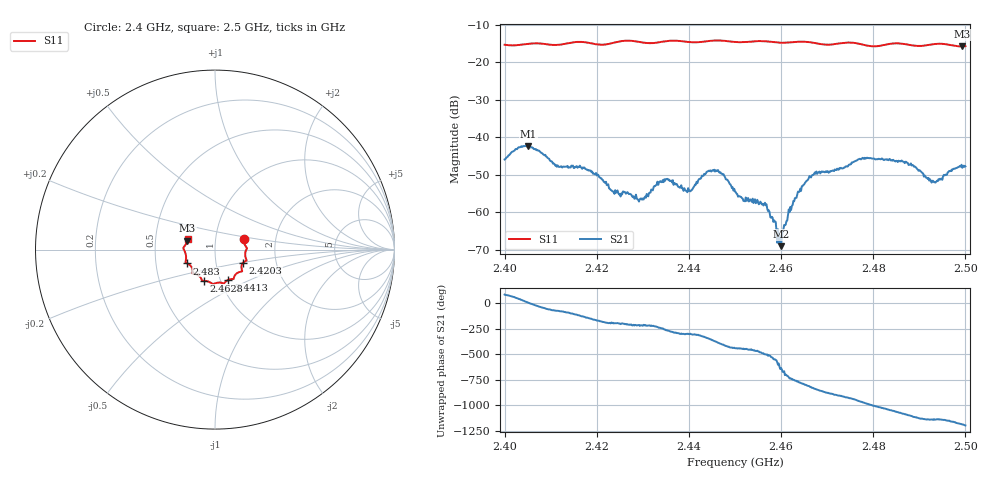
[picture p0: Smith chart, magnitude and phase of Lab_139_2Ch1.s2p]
# Hz S RI R 50
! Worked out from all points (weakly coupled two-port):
!   601 points, 2.4 GHz to 2.5 GHz, reference 50 ohm
!   highest |S21| = -42.27 dB at 2.4052 GHz (marker M1); lowest = -69.0 dB at 2.46 GHz (marker M2)
!   lowest |S11| = -15.8 dB at 2.4993 GHz (marker M3), VSWR 1.39, Z = 36.5 + j3.73 ohm
!   |S11| at or under -10 dB: start of sweep to end of sweep
!   S12 and S22 are empty: the file has one direction only
!   S11 on the Smith chart (normalised r, x): 2.4 GHz: 1.37, +0.16; 2.4203 GHz: 1.35, -0.21; 2.4413 GHz: 1.09, -0.38; 2.4628 GHz: 0.83, -0.30; 2.483 GHz: 0.72, -0.11; 2.5 GHz: 0.73, +0.09
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2.4e9  0.1611 0.0566  0.000422 0.00506  0 0  0 0
2.405167e9  0.1756 0.0123  0.00768 0.000536  0 0  0 0
2.4115e9  0.1679 -0.0264  0.00113 -0.00408  0 0  0 0
2.416667e9  0.1759 -0.0615  -0.00243 -0.00311  0 0  0 0
2.420333e9  0.1552 -0.0742  -0.00313 -0.000421  0 0  0 0
2.423333e9  0.1475 -0.1023  -0.00185 0.000528  0 0  0 0
2.429333e9  0.1385 -0.124  -0.00111 0.00101  0 0  0 0
2.433333e9  0.1079 -0.1483  -0.00126 0.00196  0 0  0 0
2.441333e9  0.0743 -0.1682  0.00145 0.00186  0 0  0 0
2.445833e9  0.0498 -0.1883  0.00348 -0.00108  0 0  0 0
2.45e9  0.0294 -0.1838  0.000282 -0.00187  0 0  0 0
2.4565e9  -0.0147 -0.1898  -0.00105 -0.000843  0 0  0 0
2.46e9  -0.0391 -0.1773  3.7e-05 0.000354  0 0  0 0
2.462833e9  -0.063 -0.1745  0.00117 -0.000779  0 0  0 0
2.466667e9  -0.0742 -0.1675  -0.00103 -0.00293  0 0  0 0
2.477333e9  -0.1242 -0.1215  -0.00202 0.00467  0 0  0 0
2.483e9  -0.1547 -0.0769  0.00396 0.00323  0 0  0 0
2.483333e9  -0.1569 -0.0759  0.00404 0.00289  0 0  0 0
2.488667e9  -0.1608 -0.0448  0.00346 -0.00244  0 0  0 0
2.493167e9  -0.1743 0.00167  0.00133 -0.00215  0 0  0 0
2.499333e9  -0.1544 0.0498  -0.00138 -0.00368  0 0  0 0
2.5e9  -0.1528 0.0586  -0.00204 -0.00356  0 0  0 0
